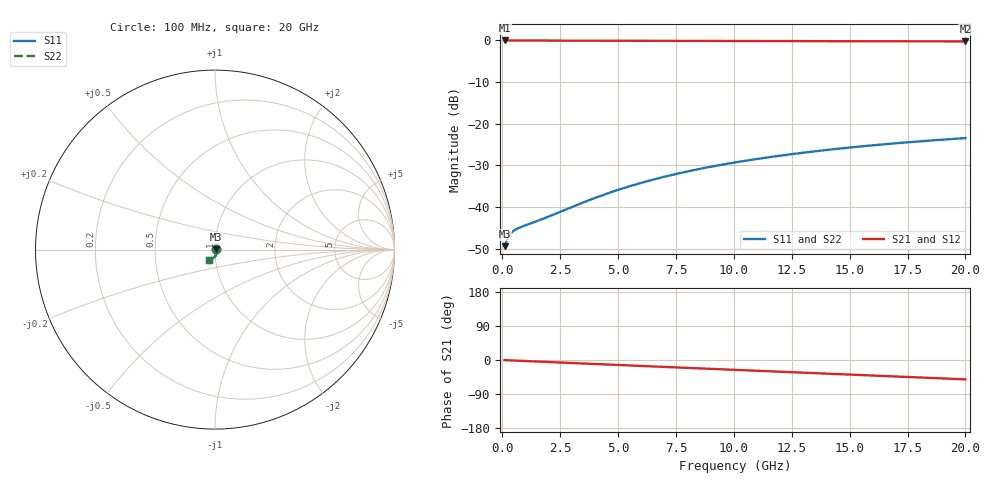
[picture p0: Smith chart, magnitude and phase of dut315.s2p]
! Touchstone file exported from HFSS 2026.1.0
!  File:  C:/ffzhzh/LocalFiles/Ansys_Project_Files/temp_train_BSMRDL_315_1783010714_4048.aedt
!  Generated:  12:46:53 AM Jul  3, 2026
!  Design:  BSMRDL
!  Project:  temp_train_BSMRDL_315_1783010714_4048
! Variables:
!  h_bsmrdl = 4.37um
!  h_ox = 20um
!  h_rdl = 5um
!  h_sub = 80um
!  h_tmrdl = 5um
!  h_tsv = 80um
!  h_via = 3um
!  l_bsmrdl = 916.78um
!  l_sub = 1316.78um
!  l_tmrdl = 200um
!  m_sub = 200um
!  pitch = 29.46um
!  r_tsv = 6um
!  s_tmrdl = 10um
!  w_bsmrdl = 25.48um
!  w_sub = 500um
!  w_tmrdl = 12um
!  x_tsv_center1 = 206um
!  x_tsv_center2 = 1148.26um
!  x_tsv_center3 = 1360.26um
!  x_tsv_center4 = 2302.52um
!  x_tsv_center5 = 2514.52um
!  x_tsv_center6 = 3456.78um
# GHz S MA R 50.000000
! Terminal data exported
! Port[1] = BSM_RDL1_1_T1
! Port[2] = BSM_RDL1_1_T2
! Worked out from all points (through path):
!   200 points, 100 MHz to 20 GHz, reference 50 ohm
!   highest |S21| = -0.03 dB at 100 MHz (marker M1); lowest = -0.3 dB at 20 GHz (marker M2)
!   group delay of S21, straight-line fit = 7.06 ps
!   lowest |S11| = -49.4 dB at 100 MHz (marker M3), VSWR 1.01, Z = 50.3 + j0.0672 ohm
!   |S11| at or under -10 dB: start of sweep to end of sweep
!   |S22| runs from -49.4 to -23.5 dB; largest |S21 - S12| = 1.7e-14
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0.1  0.003379 11.4  0.9967 -0.3  0.9967 -0.3  0.003379 11.4
! Gamma 0 0 0 0
! Port Impedance 50 0 50 0
0.2  0.004017 13.7  0.9961 -0.6  0.9961 -0.6  0.004017 13.7
0.3  0.004553 11.3  0.9956 -0.9  0.9956 -0.9  0.004553 11.3
0.4  0.004932 7.7  0.9951 -1.1  0.9951 -1.1  0.004932 7.7
0.5  0.005203 4.1  0.9948 -1.4  0.9948 -1.4  0.005203 4.1
0.6  0.005409 0.7  0.9946 -1.7  0.9946 -1.7  0.005409 0.7
0.8  0.005729 -5.2  0.9943 -2.2  0.9943 -2.2  0.00573 -5.2
1.9  0.007464 -26.9  0.9931 -5.1  0.9931 -5.1  0.007464 -26.9
3.5  0.01133 -45.5  0.9908 -9.3  0.9908 -9.3  0.01133 -45.5
4.3  0.01373 -52.3  0.9895 -11.4  0.9895 -11.4  0.01373 -52.3
5.1  0.01634 -58.3  0.9882 -13.4  0.9882 -13.4  0.01634 -58.3
5.9  0.0191 -63.6  0.987 -15.5  0.987 -15.5  0.0191 -63.6
6.8  0.0223 -69.0  0.9856 -17.8  0.9856 -17.8  0.0223 -69.0
7.6  0.02521 -73.4  0.9845 -19.8  0.9845 -19.8  0.02521 -73.4
8.4  0.02815 -77.5  0.9834 -21.9  0.9834 -21.9  0.02815 -77.5
10.1  0.03439 -85.4  0.9812 -26.2  0.9812 -26.2  0.03439 -85.4
11.7  0.04018 -92.1  0.9794 -30.2  0.9794 -30.2  0.04018 -92.1
13.4  0.04618 -98.6  0.9775 -34.5  0.9775 -34.5  0.04618 -98.6
15  0.05163 -104.3  0.9757 -38.5  0.9757 -38.5  0.05163 -104.3
16.7  0.05717 -110.1  0.9739 -42.8  0.9739 -42.8  0.05717 -110.1
18.3  0.06212 -115.3  0.9723 -46.8  0.9723 -46.8  0.06213 -115.2
20  0.06706 -120.6  0.9705 -51.1  0.9705 -51.1  0.06707 -120.6
